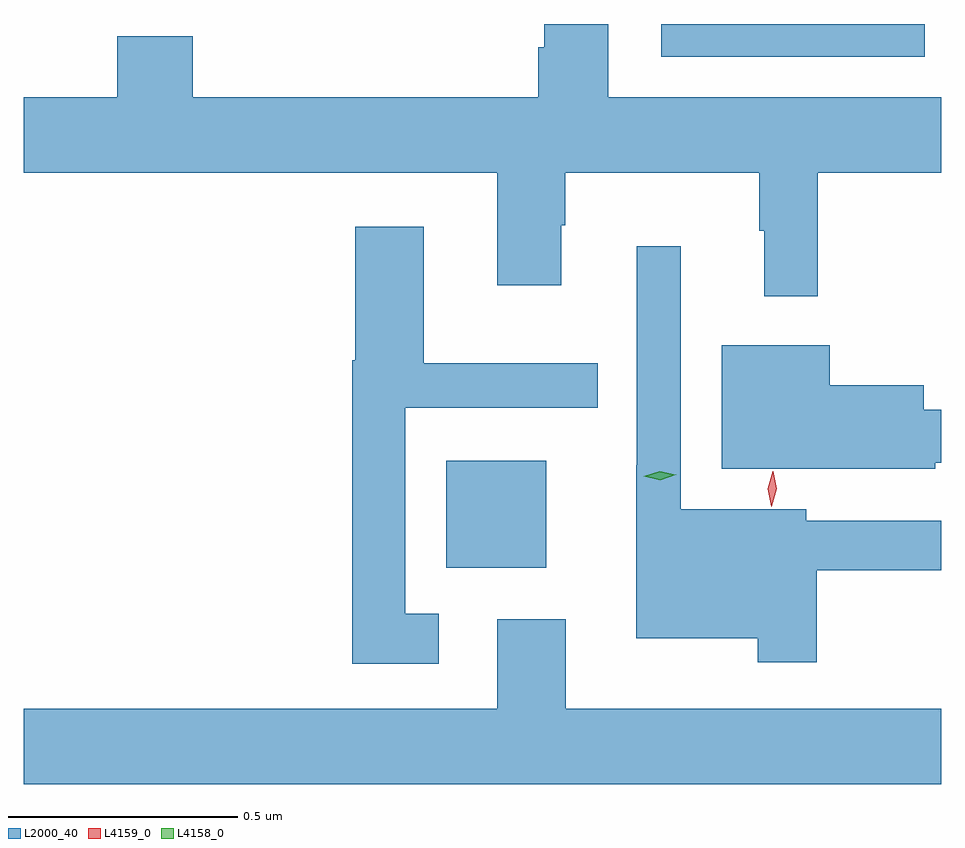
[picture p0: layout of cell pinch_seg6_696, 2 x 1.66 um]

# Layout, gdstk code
import gdstk
lib = gdstk.Library(unit=1e-6, precision=1e-09)
def R(c, l, rs):  # rectangles x0, y0, x1, y1
    for r in rs: c.add(gdstk.rectangle(r[:2], r[2:], *l))
def P(c, l, *ps):  # polygons
    for p in ps: c.add(gdstk.Polygon(p, *l))
L2000_40 = (2000, 40)
L4158_0 = (4158, 0)
L4159_0 = (4159, 0)

pinch_seg6_696 = lib.new_cell('pinch_seg6_696')
R(pinch_seg6_696, L2000_40, [(491.66,951.803,491.878,952.036), (492.129,952.917,492.703,952.988)])
P(pinch_seg6_696, L2000_40, [(492.47,952.664),(492.739,952.664),(492.739,952.828),(492.013,952.828),(492.013,952.988),(491.874,952.988),(491.874,952.937),(491.861,952.937),(491.861,952.828),(491.108,952.828),(491.108,952.961),(490.943,952.961),(490.943,952.828),(490.739,952.828),(490.739,952.664),(491.771,952.664),(491.771,952.419),(491.911,952.419),(491.911,952.55),(491.919,952.55),(491.919,952.664),(492.342,952.664),(492.342,952.538),(492.353,952.538),(492.353,952.395),(492.47,952.395)],
  [(491.644,951.703),(491.571,951.703),(491.571,952.152),(491.99,952.152),(491.99,952.249),(491.611,952.249),(491.611,952.546),(491.462,952.546),(491.462,952.255),(491.455,952.255),(491.455,951.594),(491.644,951.594)],
  [(492.467,951.798),(492.739,951.798),(492.739,951.906),(492.444,951.906),(492.444,951.931),(492.171,951.931),(492.171,952.504),(492.075,952.504),(492.075,952.027),(492.074,952.027),(492.074,951.65),(492.339,951.65),(492.339,951.597),(492.467,951.597)],
  [(492.726,952.032),(492.739,952.032),(492.739,952.148),(492.7,952.148),(492.7,952.201),(492.496,952.201),(492.496,952.288),(492.26,952.288),(492.26,952.019),(492.726,952.019)],
  [(492.739,951.496),(491.92,951.496),(491.92,951.691),(491.771,951.691),(491.771,951.496),(490.739,951.496),(490.739,951.332),(492.739,951.332)])
P(pinch_seg6_696, L4158_0, [(492.126,951.994),(492.09,952.003),(492.09,952.003),(492.09,952.003),(492.125,952.014),(492.16,952.006),(492.161,952.006),(492.16,952.006)])
P(pinch_seg6_696, L4159_0, [(492.369,951.936),(492.368,951.937),(492.36,951.975),(492.371,952.013),(492.372,952.013),(492.372,952.013),(492.38,951.975),(492.369,951.937)])

lib.write_gds('pinch_seg6_696.gds')
